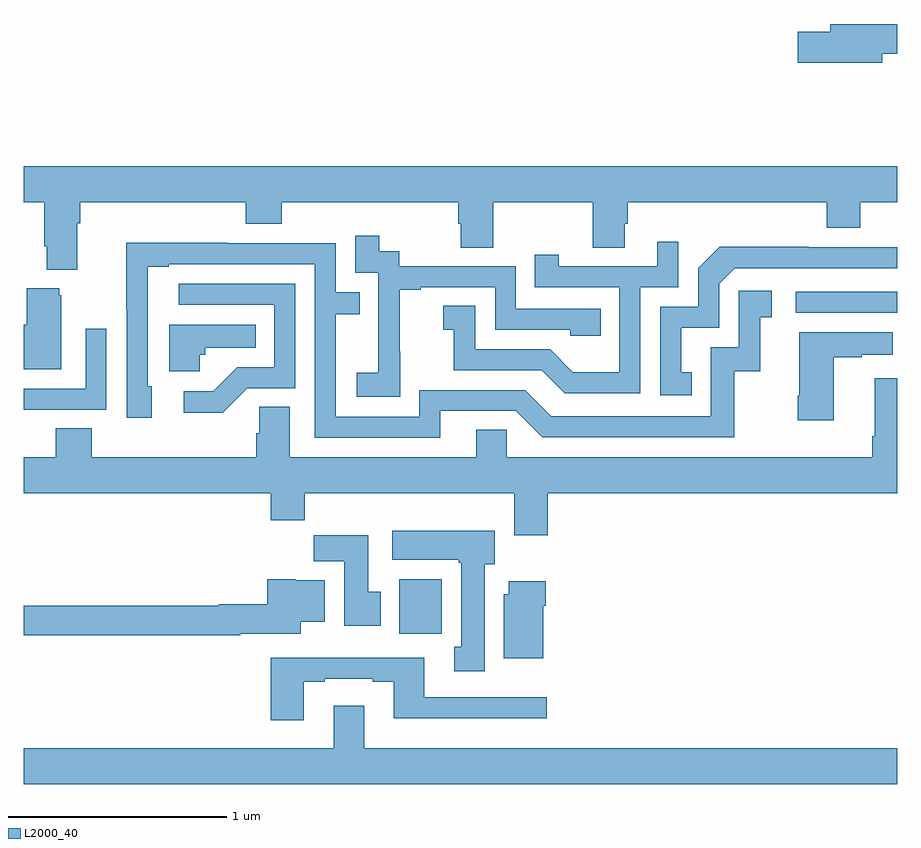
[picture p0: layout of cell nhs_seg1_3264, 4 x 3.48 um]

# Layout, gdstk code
import gdstk
lib = gdstk.Library(unit=1e-6, precision=1e-09)
def R(c, l, rs):  # rectangles x0, y0, x1, y1
    for r in rs: c.add(gdstk.rectangle(r[:2], r[2:], *l))
def P(c, l, *ps):  # polygons
    for p in ps: c.add(gdstk.Polygon(p, *l))
L2000_40 = (2000, 40)

nhs_seg1_3264 = lib.new_cell('nhs_seg1_3264')
R(nhs_seg1_3264, L2000_40, [(288.719,563.076,288.915,563.326), (290.535,564.546,291,564.642)])
P(nhs_seg1_3264, L2000_40, [(290.932,565.732),(291,565.732),(291,565.868),(290.693,565.868),(290.693,565.832),(290.544,565.832),(290.544,565.69),(290.932,565.69)],
  [(287.245,564.956),(287.258,564.956),(287.258,565.052),(288.017,565.052),(288.017,564.953),(288.182,564.953),(288.182,565.052),(288.989,565.052),(288.989,564.954),(289.001,564.954),(289.001,564.844),(289.149,564.844),(289.149,565.052),(289.606,565.052),(289.606,564.844),(289.753,564.844),(289.753,564.954),(289.766,564.954),(289.766,565.052),(290.678,565.052),(290.678,564.935),(290.83,564.935),(290.83,565.052),(291,565.052),(291,565.216),(287,565.216),(287,565.052),(287.093,565.052),(287.093,564.85),(287.105,564.85),(287.105,564.743),(287.245,564.743)],
  [(288.723,564.367),(288.722,564.367),(288.722,564.651),(288.817,564.651),(288.817,564.663),(289.158,564.663),(289.158,564.468),(289.503,564.468),(289.503,564.441),(289.643,564.441),(289.643,564.564),(289.254,564.564),(289.254,564.759),(288.72,564.759),(288.72,564.828),(288.628,564.828),(288.628,564.898),(288.519,564.898),(288.519,564.729),(288.624,564.729),(288.624,564.5),(288.623,564.5),(288.623,564.271),(288.525,564.271),(288.525,564.161),(288.723,564.161)],
  [(289.824,564.663),(289.998,564.663),(289.998,564.871),(289.901,564.871),(289.901,564.759),(289.45,564.759),(289.45,564.811),(289.339,564.811),(289.339,564.663),(289.728,564.663),(289.728,564.274),(289.514,564.274),(289.41,564.378),(289.068,564.378),(289.068,564.577),(288.921,564.577),(288.921,564.467),(288.97,564.467),(288.97,564.282),(289.373,564.282),(289.478,564.177),(289.824,564.177)],
  [(288.907,564.096),(289.254,564.096),(289.374,563.976),(290.254,563.976),(290.254,564.279),(290.372,564.279),(290.372,564.525),(290.425,564.525),(290.425,564.646),(290.274,564.646),(290.274,564.387),(290.145,564.387),(290.145,564.072),(289.416,564.072),(289.296,564.192),(288.81,564.192),(288.81,564.069),(288.429,564.069),(288.429,564.538),(288.539,564.538),(288.539,564.639),(288.429,564.639),(288.429,564.864),(287.933,564.864),(287.933,564.866),(287.47,564.866),(287.47,564.559),(287.472,564.559),(287.472,564.066),(287.587,564.066),(287.587,564.21),(287.568,564.21),(287.568,564.756),(287.665,564.756),(287.665,564.768),(288.333,564.768),(288.333,563.973),(288.907,563.973)],
  [(290.06,564.273),(290.011,564.273),(290.011,564.477),(290.184,564.477),(290.184,564.678),(290.256,564.75),(291,564.75),(291,564.846),(290.594,564.846),(290.594,564.848),(290.186,564.848),(290.088,564.75),(290.088,564.573),(289.914,564.573),(289.914,564.168),(290.06,564.168)],
  [(288.024,564.201),(288.243,564.201),(288.243,564.678),(287.709,564.678),(287.709,564.582),(288.147,564.582),(288.147,564.297),(287.978,564.297),(287.867,564.186),(287.733,564.186),(287.733,564.089),(287.911,564.089)],
  [(287.173,564.627),(287.162,564.627),(287.162,564.658),(287.015,564.658),(287.015,564.49),(287,564.49),(287,564.287),(287.173,564.287)],
  [(287.805,564.354),(287.832,564.354),(287.832,564.386),(288.062,564.386),(288.062,564.49),(287.666,564.49),(287.666,564.278),(287.805,564.278)],
  [(287.063,564.102),(287.379,564.102),(287.379,564.472),(287.283,564.472),(287.283,564.198),(287,564.198),(287,564.101),(287.063,564.101)],
  [(290.71,564.343),(290.837,564.343),(290.837,564.353),(290.98,564.353),(290.98,564.457),(290.552,564.457),(290.552,564.166),(290.545,564.166),(290.545,564.054),(290.71,564.054)],
  [(289.4,563.72),(291,563.72),(291,564.247),(290.897,564.247),(290.897,563.98),(290.885,563.98),(290.885,563.884),(289.212,563.884),(289.212,564.011),(289.073,564.011),(289.073,563.884),(288.217,563.884),(288.217,564.116),(288.078,564.116),(288.078,563.993),(288.065,563.993),(288.065,563.884),(287.312,563.884),(287.312,564.017),(287.147,564.017),(287.147,563.884),(287,563.884),(287,563.72),(288.131,563.72),(288.131,563.596),(288.287,563.596),(288.287,563.72),(289.247,563.72),(289.247,563.526),(289.4,563.526)],
  [(289.111,563.394),(289.156,563.394),(289.156,563.548),(288.687,563.548),(288.687,563.414),(288.991,563.414),(288.991,563.401),(289.004,563.401),(289.004,563.017),(288.971,563.017),(288.971,562.905),(289.111,562.905)],
  [(288.634,563.268),(288.577,563.268),(288.577,563.527),(288.328,563.527),(288.328,563.408),(288.467,563.408),(288.467,563.112),(288.634,563.112)],
  [(287.992,563.075),(288.268,563.075),(288.268,563.132),(288.379,563.132),(288.379,563.32),(288.246,563.32),(288.246,563.326),(288.116,563.326),(288.116,563.212),(287.892,563.212),(287.892,563.204),(287,563.204),(287,563.068),(287.992,563.068)],
  [(289.378,563.204),(289.391,563.204),(289.391,563.317),(289.22,563.317),(289.22,563.256),(289.199,563.256),(289.199,562.964),(289.378,562.964)],
  [(288.283,562.857),(288.379,562.857),(288.379,562.869),(288.599,562.869),(288.599,562.857),(288.695,562.857),(288.695,562.688),(289.396,562.688),(289.396,562.785),(288.835,562.785),(288.835,562.966),(288.131,562.966),(288.131,562.68),(288.283,562.68)],
  [(291,562.552),(288.559,562.552),(288.559,562.747),(288.419,562.747),(288.419,562.552),(287,562.552),(287,562.388),(291,562.388)])

lib.write_gds('nhs_seg1_3264.gds')
